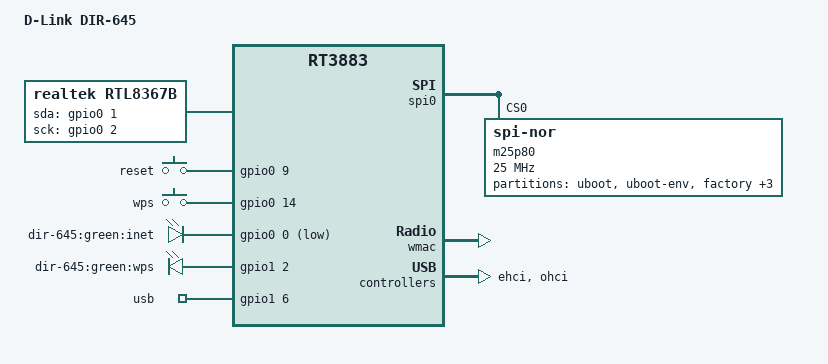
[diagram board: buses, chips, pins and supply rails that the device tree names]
/dts-v1/;

#include "rt3883.dtsi"

#include <dt-bindings/gpio/gpio.h>
#include <dt-bindings/input/input.h>

/ {
	compatible = "dlink,dir-645", "ralink,rt3883-soc";
	model = "D-Link DIR-645";

	aliases {
		led-status = &led_wps;
	};

	rtl8367b {
		compatible = "realtek,rtl8367b";
		gpio-sda = <&gpio0 1 GPIO_ACTIVE_HIGH>;
		gpio-sck = <&gpio0 2 GPIO_ACTIVE_HIGH>;
		realtek,extif1 = <1 0 1 1 1 1 1 1 2>;
	};

	gpio-keys-polled {
		compatible = "gpio-keys-polled";
		poll-interval = <100>;

		reset {
			label = "reset";
			gpios = <&gpio0 9 GPIO_ACTIVE_HIGH>;
			linux,code = <KEY_RESTART>;
		};

		wps {
			label = "wps";
			gpios = <&gpio0 14 GPIO_ACTIVE_HIGH>;
			linux,code = <KEY_WPS_BUTTON>;
		};
	};

	gpio-leds {
		compatible = "gpio-leds";

		inet {
			label = "dir-645:green:inet";
			gpios = <&gpio0 0 GPIO_ACTIVE_LOW>;
		};

		led_wps: wps {
			label = "dir-645:green:wps";
			gpios = <&gpio1 2 GPIO_ACTIVE_HIGH>;
		};
	};

	gpio_export {
		compatible = "gpio-export";
		#size-cells = <0>;

		usb {
			gpio-export,name = "usb";
			gpio-export,output = <1>;
			gpios = <&gpio1 6 GPIO_ACTIVE_HIGH>;
		};
	};
};

&gpio1 {
	status = "okay";
};

&spi0 {
	status = "okay";

	m25p80@0 {
		compatible = "jedec,spi-nor";
		reg = <0>;
		spi-max-frequency = <25000000>;

		partitions {
			compatible = "fixed-partitions";
			#address-cells = <1>;
			#size-cells = <1>;

			partition@0 {
				label = "uboot";
				reg = <0x0 0x30000>;
				read-only;
			};

			partition@30000 {
				label = "uboot-env";
				reg = <0x30000 0x4000>;
				read-only;
			};

			factory: partition@34000 {
				label = "factory";
				reg = <0x34000 0x4000>;
				read-only;
			};

			partition@38000 {
				label = "nvram";
				reg = <0x38000 0x8000>;
				read-only;
			};

			partition@40000 {
				label = "devdata";
				reg = <0x40000 0x10000>;
			};

			partition@50000 {
				label = "firmware";
				reg = <0x50000 0x7b0000>;
			};
		};
	};
};

&pinctrl {
	state_default: pinctrl0 {
		gpio {
			ralink,group = "i2c", "jtag", "uartf";
			ralink,function = "gpio";
		};
	};
};

&ethernet {
	mtd-mac-address = <&factory 0x4>;

	port@0 {
		mediatek,fixed-link = <1000 1 1 0>;
	};
};

&wmac {
	ralink,5ghz = <0>;
	ralink,mtd-eeprom = <&factory 0>;
};

&ehci {
	status = "okay";
};

&ohci {
	status = "okay";
};
